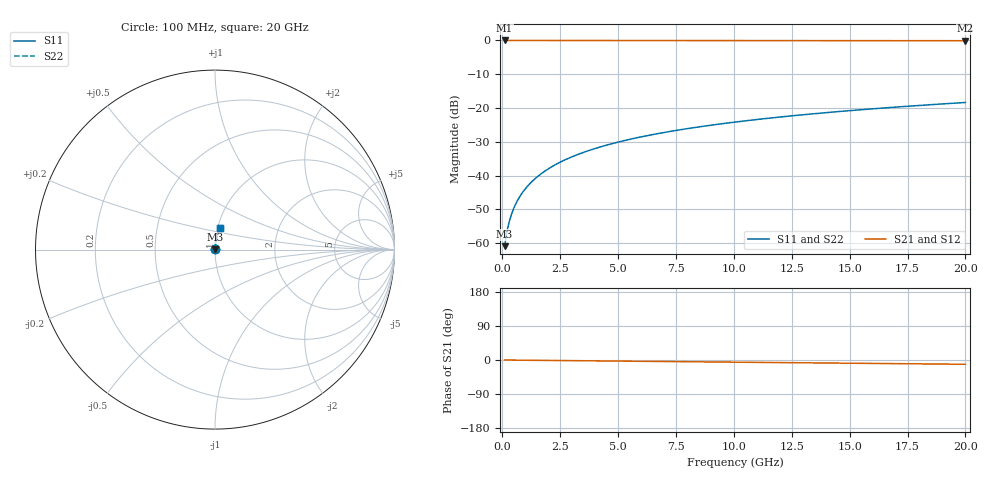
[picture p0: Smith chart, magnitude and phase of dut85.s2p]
! Touchstone file exported from HFSS 2026.1.0
!  File:  C:/ffzhzh/LocalFiles/Ansys_Project_Files/temp_train_BSMRDL_85_1782883120_42304.aedt
!  Generated:  01:19:58 PM Jul  1, 2026
!  Design:  BSMRDL
!  Project:  temp_train_BSMRDL_85_1782883120_42304
! Variables:
!  h_bsmrdl = 4.1um
!  h_ox = 20um
!  h_rdl = 5um
!  h_sub = 80um
!  h_tmrdl = 5um
!  h_tsv = 80um
!  h_via = 3um
!  l_bsmrdl = 116.06um
!  l_sub = 516.06um
!  l_tmrdl = 200um
!  m_sub = 200um
!  pitch = 56.27um
!  r_tsv = 6um
!  s_tmrdl = 10um
!  w_bsmrdl = 25.68um
!  w_sub = 500um
!  w_tmrdl = 12um
!  x_tsv_center1 = 206um
!  x_tsv_center2 = 347.74um
!  x_tsv_center3 = 559.74um
!  x_tsv_center4 = 701.48um
!  x_tsv_center5 = 913.48um
!  x_tsv_center6 = 1055.22um
# GHz S MA R 50.000000
! Terminal data exported
! Port[1] = BSM_RDL1_1_T1
! Port[2] = BSM_RDL1_1_T2
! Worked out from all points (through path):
!   200 points, 100 MHz to 20 GHz, reference 50 ohm
!   highest |S21| = -0.01 dB at 100 MHz (marker M1); lowest = -0.1 dB at 20 GHz (marker M2)
!   group delay of S21, straight-line fit = 1.56 ps
!   lowest |S11| = -60.9 dB at 100 MHz (marker M3), VSWR 1.00, Z = 50.1 + j0.0682 ohm
!   |S11| at or under -10 dB: start of sweep to end of sweep
!   |S22| runs from -60.9 to -18.4 dB; largest |S21 - S12| = 3.4e-15
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0.1  0.0009058 48.7  0.9994 -0.1  0.9994 -0.1  0.0009058 48.7
! Gamma 0 0 0 0
! Port Impedance 50 0 50 0
0.2  0.001483 64.7  0.9994 -0.1  0.9994 -0.1  0.001483 64.7
0.3  0.002091 71.3  0.9993 -0.2  0.9993 -0.2  0.002091 71.3
0.4  0.002703 75.0  0.9993 -0.2  0.9993 -0.2  0.002703 75.0
0.5  0.003317 77.4  0.9993 -0.3  0.9993 -0.3  0.003317 77.4
0.7  0.004554 80.3  0.9993 -0.4  0.9993 -0.4  0.004554 80.3
0.8  0.005175 81.3  0.9992 -0.5  0.9992 -0.5  0.005175 81.3
1  0.006423 82.6  0.9992 -0.6  0.9992 -0.6  0.006423 82.6
1.2  0.007675 83.5  0.9992 -0.7  0.9992 -0.7  0.007675 83.5
1.4  0.008929 84.1  0.9992 -0.8  0.9992 -0.8  0.008929 84.1
1.7  0.01081 84.7  0.9991 -1.0  0.9991 -1.0  0.01081 84.7
2  0.01269 85.0  0.9991 -1.2  0.9991 -1.2  0.01269 85.0
2.7  0.01708 85.3  0.9989 -1.6  0.9989 -1.6  0.01708 85.3
3.5  0.02207 85.3  0.9987 -2.0  0.9987 -2.0  0.02207 85.3
4.2  0.02641 85.1  0.9985 -2.4  0.9985 -2.4  0.02641 85.1
5  0.03135 84.8  0.9982 -2.9  0.9982 -2.9  0.03135 84.8
6.8  0.04237 84.0  0.9975 -3.9  0.9975 -3.9  0.04237 84.0
8.3  0.05147 83.3  0.9969 -4.7  0.9969 -4.7  0.05147 83.3
10.1  0.06233 82.4  0.9961 -5.8  0.9961 -5.8  0.06233 82.4
13.4  0.08206 80.8  0.9943 -7.6  0.9943 -7.6  0.08206 80.8
16.7  0.1016 79.1  0.9922 -9.4  0.9922 -9.4  0.1016 79.1
20  0.1209 77.4  0.9898 -11.3  0.9898 -11.3  0.1209 77.4
